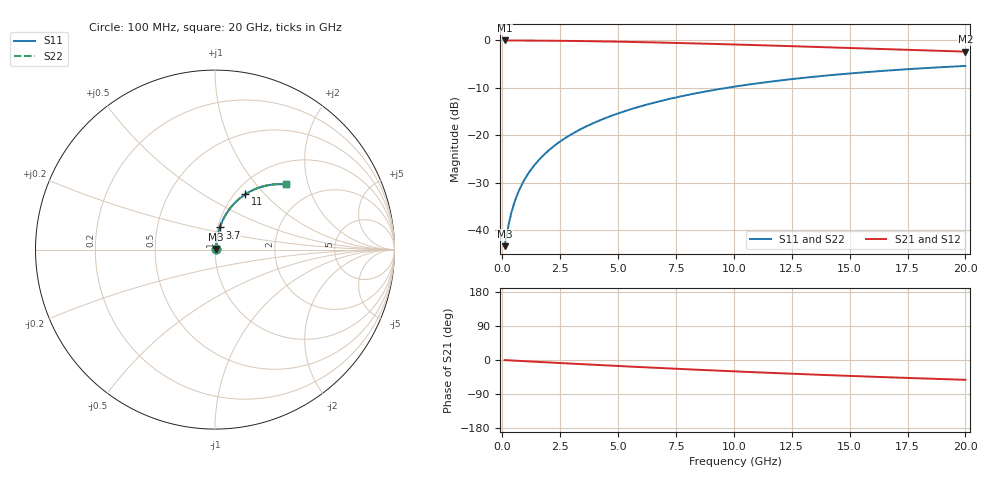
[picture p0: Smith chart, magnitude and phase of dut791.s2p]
! Touchstone file exported from HFSS 2024.1.0
!  File:  C:/UserFiles/LocalFiles/RDL_TSV_Batchsim/temp_RDL_bottom_791_1779861516.aedt
!  Generated:  02:01:02 PM May 27, 2026
!  Design:  RDL_bottom
!  Project:  temp_RDL_bottom_791_1779861516
!  Setup:  Setup1
!  Solution:  Sweep
! Variables:
!  dtsv = 10.80580581um
!  hbump = 3um
!  htsv = 86.12um
!  ldown = 673.03um
!  lrdl = 100um
!  p = 40
!  p1 = 58.8um
!  rhole = 1um
!  t = 450um
!  tdown = 2.77um
!  trdl = 3.915915916um
!  wdown = 15.33um
!  wrdl = 20um
# GHz S MA R 50.000000
! Terminal data exported
! Port[1] = RDL1_T1
! Port[2] = RDL1_T2
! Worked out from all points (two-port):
!   200 points, 100 MHz to 20 GHz, reference 50 ohm
!   highest |S21| = -0.05 dB at 100 MHz (marker M1); lowest = -2.4 dB at 20 GHz (marker M2)
!   |S21| within 3 dB of the highest: start of sweep to end of sweep
!   lowest |S11| = -43.4 dB at 100 MHz (marker M3), VSWR 1.01, Z = 50.6 + j0.362 ohm
!   |S11| at or under -10 dB: start of sweep to 9.746 GHz
!   |S22| runs from -43.4 to -5.4 dB; largest |S21 - S12| = 3.5e-15
!   S11 on the Smith chart (normalised r, x): 100 MHz: 1.01, +0.01; 3.7 GHz: 1.02, +0.26; 11 GHz: 1.12, +0.78; 20 GHz: 1.43, +1.46
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0.1  0.006754 32.0  0.9943 -0.3  0.9943 -0.3  0.006754 32.0
! Gamma 0 0 0 0
! Port Impedance 50 0 50 0
0.2  0.009226 50.6  0.9942 -0.7  0.9942 -0.7  0.009226 50.6
0.3  0.01224 60.4  0.994 -1.0  0.994 -1.0  0.01224 60.4
0.4  0.01544 66.0  0.9938 -1.3  0.9938 -1.3  0.01544 66.0
0.5  0.01871 69.6  0.9935 -1.7  0.9935 -1.7  0.01871 69.6
0.6  0.02201 72.0  0.9933 -2.0  0.9933 -2.0  0.02201 72.0
0.8  0.02865 75.0  0.9928 -2.6  0.9928 -2.6  0.02865 75.0
1.1  0.03864 77.4  0.9919 -3.6  0.9919 -3.6  0.03864 77.4
1.5  0.05203 78.9  0.9906 -4.9  0.9906 -4.9  0.05203 78.9
1.8  0.06211 79.3  0.9893 -5.8  0.9893 -5.8  0.06211 79.3
2.1  0.07221 79.4  0.9879 -6.8  0.9879 -6.8  0.07221 79.4
2.7  0.09242 79.1  0.9846 -8.7  0.9846 -8.7  0.09242 79.1
3.5  0.1193 78.1  0.9791 -11.2  0.9791 -11.2  0.1193 78.1
3.7  0.126 77.7  0.9775 -11.8  0.9775 -11.8  0.126 77.7
5.1  0.1726 75.0  0.9647 -16.1  0.9647 -16.1  0.1726 75.0
6.8  0.2276 71.2  0.9454 -21.1  0.9454 -21.1  0.2276 71.2
8.4  0.277 67.4  0.9247 -25.6  0.9247 -25.6  0.277 67.5
10.1  0.3262 63.4  0.9008 -30.2  0.9008 -30.2  0.3263 63.4
11  0.3508 61.3  0.8876 -32.5  0.8876 -32.5  0.3508 61.3
13.4  0.4108 55.8  0.852 -38.4  0.852 -38.4  0.4108 55.9
16.7  0.4803 48.9  0.8037 -45.7  0.8037 -45.7  0.4804 48.9
20  0.5359 42.6  0.7584 -52.3  0.7584 -52.3  0.5361 42.6
